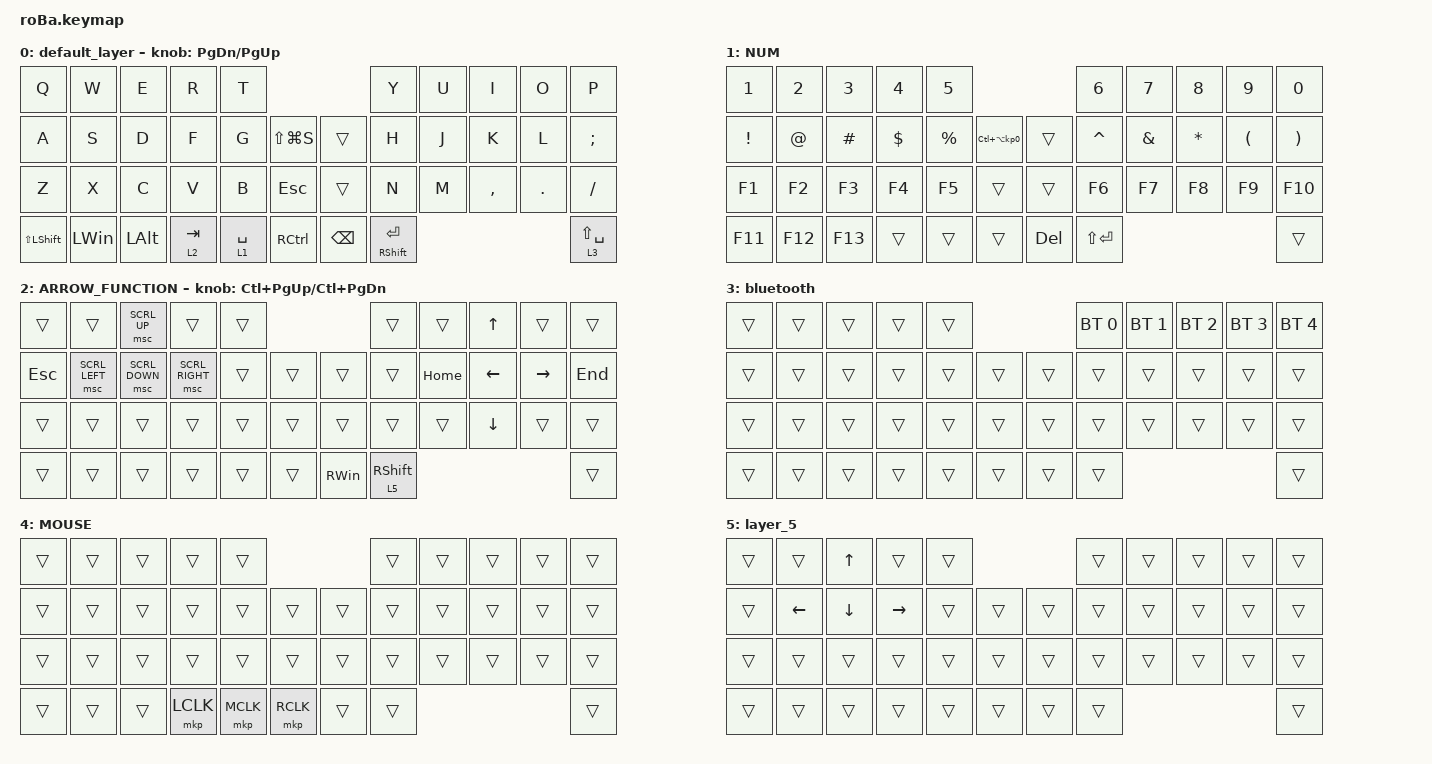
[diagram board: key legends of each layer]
#include <behaviors.dtsi>
#include <dt-bindings/zmk/bt.h>
#include <dt-bindings/zmk/keys.h>
#include <dt-bindings/zmk/pointing.h>

&mt {
    flavor = "balanced";
    quick-tap-ms = <0>;
};

/ {
    combos {
        compatible = "zmk,combos";

        quotation {
            bindings = <&kp SINGLE_QUOTE>;
            key-positions = <20 21>;
        };

        eq {
            bindings = <&kp EQUAL>;
            key-positions = <19 20>;
        };

        left_bracket {
            bindings = <&kp LEFT_BRACKET>;
            key-positions = <7 8>;
        };

        right_bracket {
            bindings = <&kp RIGHT_BRACKET>;
            key-positions = <8 9>;
        };

        minus {
            bindings = <&kp MINUS>;
            key-positions = <18 19>;
        };

        grave_tirude {
            bindings = <&kp GRAVE>;
            key-positions = <1 0>;
        };

        backslash {
            bindings = <&kp BACKSLASH>;
            key-positions = <32 33>;
        };

        alt {
            bindings = <&kp LEFT_ALT>;
            key-positions = <11 12>;
        };

        layer_five {
            bindings = <&lt 5 RSHFT>;
            key-positions = <37 41>;
        };
    };

    macros {
        to_layer_0: to_layer_0 {
            compatible = "zmk,behavior-macro-one-param";
            #binding-cells = <1>;
            bindings = <&to 0 &macro_param_1to1 &kp MACRO_PLACEHOLDER>;
            label = "TO_LAYER_0";
        };

        hold_layer2_tap_leftClick: hold_layer2_tap_leftClick {
            compatible = "zmk,behavior-macro-one-param";
            #binding-cells = <1>;
            bindings = <&to 2 &macro_param_1to1 &mkp MACRO_PLACEHOLDER>;
            label = "HOLD_LAYER2_TAP_LEFTCLICK";
        };

        hold_layer1_tap_middleClick: hold_layer1_tap_middleClick {
            compatible = "zmk,behavior-macro-one-param";
            #binding-cells = <1>;
            bindings = <&to 1 &macro_param_1to1 &mkp MACRO_PLACEHOLDER>;
            label = "HOLD_LAYER1_TAP_MIDDLECLICK";
        };

        hold_ctrl_tap_rightClick: hold_ctrl_tap_rightClick {
            compatible = "zmk,behavior-macro-one-param";
            #binding-cells = <1>;
            bindings = <&kp LCTRL &macro_param_1to1 &mkp MACRO_PLACEHOLDER>;
            label = "HOLD_CTRL_TAP_RIGHTCLICK";
        };
    };

    behaviors {
        lt_to_layer_0: lt_to_layer_0 {
            compatible = "zmk,behavior-hold-tap";
            label = "LAYER_TAP_TO_0";
            bindings = <&mo>, <&to_layer_0>;

            #binding-cells = <2>;
            tapping-term-ms = <200>;
        };
    };

    keymap {
        compatible = "zmk,keymap";

        default_layer {
            bindings = <
&kp Q               &kp W         &kp E         &kp R                 &kp T                                          &kp Y                  &kp U  &kp I      &kp O    &kp P
&kp A               &kp S         &kp D         &kp F                 &kp G        &kp LS(LG(S))      &trans         &kp H                  &kp J  &kp K      &kp L    &kp SEMI
&kp Z               &kp X         &kp C         &kp V                 &kp B        &kp ESCAPE         &trans         &kp N                  &kp M  &kp COMMA  &kp DOT  &kp SLASH
&kp LS(LEFT_SHIFT)  &kp LEFT_WIN  &kp LEFT_ALT  &lt_to_layer_0 2 TAB  &lt 1 SPACE  &kp RCTRL          &kp BACKSPACE  &mt RIGHT_SHIFT ENTER                             &lt 3 LS(SPACE)
            >;

            sensor-bindings = <&inc_dec_kp PAGE_DOWN PAGE_UP>;
        };

        NUM {
            bindings = <
&kp NUMBER_1     &kp NUMBER_2  &kp NUMBER_3  &kp NUMBER_4  &kp N5                                                &kp NUMBER_6   &kp N7         &kp N8        &kp NUMBER_9          &kp NUMBER_0
&kp EXCLAMATION  &kp AT_SIGN   &kp HASH      &kp DOLLAR    &kp PERCENT  &kp LC(LA(KP_NUMBER_0))      &trans      &kp CARET      &kp AMPERSAND  &kp ASTERISK  &kp LEFT_PARENTHESIS  &kp RIGHT_PARENTHESIS
&kp F1           &kp F2        &kp F3        &kp F4        &kp F5       &trans                       &trans      &kp F6         &kp F7         &kp F8        &kp F9                &kp F10
&kp F11          &kp F12       &kp F13       &trans        &trans       &trans                       &kp DELETE  &kp LS(ENTER)                                                     &trans
            >;
        };

        ARROW_FUNCTION {
            bindings = <
&trans      &trans          &msc SCRL_UP    &trans           &trans                             &trans             &trans    &kp UP    &trans     &trans
&kp ESCAPE  &msc SCRL_LEFT  &msc SCRL_DOWN  &msc SCRL_RIGHT  &trans  &trans      &trans         &trans             &kp HOME  &kp LEFT  &kp RIGHT  &kp END
&trans      &trans          &trans          &trans           &trans  &trans      &trans         &trans             &trans    &kp DOWN  &trans     &trans
&trans      &trans          &trans          &trans           &trans  &trans      &kp RIGHT_WIN  &lt 5 RIGHT_SHIFT                                 &trans
            >;

            sensor-bindings = <&inc_dec_kp LC(PAGE_UP) LC(PAGE_DOWN)>;
        };

        bluetooth {
            bindings = <
&trans  &trans  &trans  &trans  &trans                      &bt BT_SEL 0  &bt BT_SEL 1  &bt BT_SEL 2  &bt BT_SEL 3  &bt BT_SEL 4
&trans  &trans  &trans  &trans  &trans  &trans      &trans  &trans        &trans        &trans        &trans        &trans
&trans  &trans  &trans  &trans  &trans  &trans      &trans  &trans        &trans        &trans        &trans        &trans
&trans  &trans  &trans  &trans  &trans  &trans      &trans  &trans                                                  &trans
            >;
        };

        MOUSE {
            bindings = <
&trans  &trans  &trans  &trans     &trans                            &trans  &trans  &trans  &trans  &trans
&trans  &trans  &trans  &trans     &trans     &trans         &trans  &trans  &trans  &trans  &trans  &trans
&trans  &trans  &trans  &trans     &trans     &trans         &trans  &trans  &trans  &trans  &trans  &trans
&trans  &trans  &trans  &mkp LCLK  &mkp MCLK  &mkp RCLK      &trans  &trans                          &trans
            >;
        };

        layer_5 {
            bindings = <
&trans  &trans          &kp UP_ARROW    &trans     &trans                      &trans  &trans  &trans  &trans  &trans
&trans  &kp LEFT_ARROW  &kp DOWN_ARROW  &kp RIGHT  &trans  &trans      &trans  &trans  &trans  &trans  &trans  &trans
&trans  &trans          &trans          &trans     &trans  &trans      &trans  &trans  &trans  &trans  &trans  &trans
&trans  &trans          &trans          &trans     &trans  &trans      &trans  &trans                          &trans
            >;
        };
    };
};
